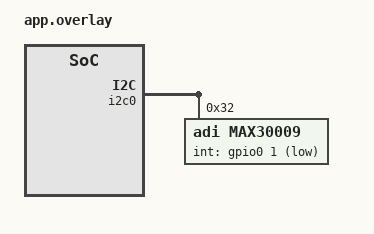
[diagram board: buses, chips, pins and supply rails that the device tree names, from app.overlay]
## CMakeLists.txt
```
# Copyright The Zephyr Project Contributors
# SPDX-License-Identifier: Apache-2.0

cmake_minimum_required(VERSION 3.28.0)
find_package(Zephyr REQUIRED HINTS $ENV{ZEPHYR_BASE})
project(max30009)

target_include_directories(app PRIVATE ${ZEPHYR_BASE}/drivers/sensor/adi/max30009)
target_sources(app PRIVATE src/main.c)
```

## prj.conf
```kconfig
# Copyright The Zephyr Project Contributors
# SPDX-License-Identifier: Apache-2.0

CONFIG_ZTEST=y
CONFIG_SENSOR=y
CONFIG_EMUL=y
CONFIG_GPIO=y
# The decoder is only built with streaming enabled
CONFIG_MAX30009_STREAM=y
```

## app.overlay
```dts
/*
 * Copyright The Zephyr Project Contributors
 *
 * SPDX-License-Identifier: Apache-2.0
 */

#include <zephyr/dt-bindings/gpio/gpio.h>

&i2c0 {
	max30009: max30009@32 {
		compatible = "adi,max30009";
		reg = <0x32>;
		int-gpios = <&gpio0 1 GPIO_ACTIVE_LOW>;
	};
};
```

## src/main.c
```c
/*
 * Copyright The Zephyr Project Contributors
 *
 * SPDX-License-Identifier: Apache-2.0
 */

#include <zephyr/drivers/sensor.h>
#include <zephyr/drivers/sensor/max30009.h>
#include <zephyr/sys/byteorder.h>
#include <zephyr/ztest.h>

#include "max30009.h"

#define TAG_BIOZ_I  0x1U
#define TAG_BIOZ_Q  0x2U
#define TAG_MARKER  0xEU
#define TAG_INVALID 0x0U

#define MAX_WORDS  100
#define LAST_TS_NS 1000000000ULL
#define PERIOD_NS  1000000U

static const struct sensor_decoder_api *decoder = SENSOR_DECODER_DT_GET(DT_NODELABEL(max30009));

static const struct sensor_chan_spec chan_i = {(enum sensor_channel)SENSOR_CHAN_BIOZ_I, 0};
static const struct sensor_chan_spec chan_q = {(enum sensor_channel)SENSOR_CHAN_BIOZ_Q, 0};

static struct {
	struct max30009_fifo_data hdr;
	uint8_t words[MAX_WORDS * MAX30009_FIFO_BYTES_PER_SAMPLE];
} fifo;

BUILD_ASSERT(offsetof(__typeof__(fifo), words) == sizeof(struct max30009_fifo_data));

struct fifo_word {
	uint8_t tag;
	int32_t value;
};

/* BioZ I and Q samples interleaved with a marker and an invalid word */
static const struct fifo_word mixed[] = {
	{TAG_BIOZ_I, 100},    {TAG_BIOZ_Q, -100}, {TAG_MARKER, 0}, {TAG_BIOZ_I, -524288},
	{TAG_BIOZ_Q, 524287}, {TAG_INVALID, 5},   {TAG_BIOZ_I, 0}, {TAG_BIOZ_Q, -1},
};

static const int32_t mixed_i[] = {100, -524288, 0};
static const int32_t mixed_q[] = {-100, 524287, -1};

static void put_word(size_t idx, uint8_t tag, int32_t value)
{
	uint32_t word = FIELD_PREP(GENMASK(23, 20), tag) | ((uint32_t)value & GENMASK(19, 0));

	sys_put_be24(word, &fifo.words[idx * MAX30009_FIFO_BYTES_PER_SAMPLE]);
}

static void fill_fifo(const struct fifo_word *words, size_t num, uint32_t period_ns)
{
	memset(&fifo, 0, sizeof(fifo));
	fifo.hdr.is_fifo = 1;
	fifo.hdr.timestamp = LAST_TS_NS;
	fifo.hdr.status1 = MAX30009_STATUS1_A_FULL_MSK;
	fifo.hdr.fifo_samples = num;
	fifo.hdr.fifo_byte_count = num * MAX30009_FIFO_BYTES_PER_SAMPLE;
	fifo.hdr.sample_set_size = MAX30009_FIFO_BYTES_PER_SAMPLE;
	fifo.hdr.sample_period_ns = period_ns;

	for (size_t i = 0; i < num; i++) {
		put_word(i, words[i].tag, words[i].value);
	}
}

static uint64_t reading_ts(const struct sensor_q31_data *out, int idx)
{
	const struct sensor_q31_sample_data *readings = out->readings;

	return out->header.base_timestamp_ns + readings[idx].timestamp_delta;
}

static void check_unsupported(const uint8_t *buffer, struct sensor_chan_spec chan)
{
	struct sensor_q31_data out;
	size_t base_size;
	size_t frame_size;
	uint16_t frame_count;
	uint32_t fit = 0;

	zassert_equal(decoder->get_size_info(chan, &base_size, &frame_size), -ENOTSUP);
	zassert_equal(decoder->get_frame_count(buffer, chan, &frame_count), -ENOTSUP);
	zassert_equal(decoder->decode(buffer, chan, &fit, 1, &out), -ENOTSUP);
}

ZTEST(max30009_decoder, test_size_info)
{
	size_t base_size;
	size_t frame_size;

	zassert_ok(decoder->get_size_info(chan_i, &base_size, &frame_size));
	zassert_equal(base_size, sizeof(struct sensor_q31_data));
	zassert_equal(frame_size, sizeof(struct sensor_q31_sample_data));

	zassert_ok(decoder->get_size_info(chan_q, &base_size, &frame_size));
	zassert_equal(base_size, sizeof(struct sensor_q31_data));
	zassert_equal(frame_size, sizeof(struct sensor_q31_sample_data));
}

static void check_all(struct sensor_chan_spec chan, const int32_t *expected, int num)
{
	const uint8_t *buffer = (const uint8_t *)&fifo;
	struct {
		struct sensor_q31_data data;
		struct sensor_q31_sample_data extra[ARRAY_SIZE(mixed_i) - 1];
	} out;
	const struct sensor_q31_sample_data *readings = out.data.readings;
	uint16_t frame_count;
	uint32_t fit = 0;

	zassert_ok(decoder->get_frame_count(buffer, chan, &frame_count));
	zassert_equal(frame_count, num);

	zassert_equal(decoder->decode(buffer, chan, &fit, num, &out), num);
	zassert_equal(out.data.header.reading_count, num);
	zassert_equal(out.data.header.base_timestamp_ns, LAST_TS_NS - (num - 1) * PERIOD_NS);
	zassert_equal(out.data.shift, 0);

	for (int i = 0; i < num; i++) {
		/* Raw ADC counts with a shift of 0 */
		zassert_equal(readings[i].value, expected[i], "reading %d: %d", i,
			      readings[i].value);
		zassert_equal(readings[i].timestamp_delta, i * PERIOD_NS);
	}

	zassert_equal(decoder->decode(buffer, chan, &fit, num, &out), 0);
}

static void check_one_by_one(struct sensor_chan_spec chan, const int32_t *expected, int num)
{
	const uint8_t *buffer = (const uint8_t *)&fifo;
	struct sensor_q31_data out;
	uint32_t fit = 0;

	for (int i = 0; i < num; i++) {
		zassert_equal(decoder->decode(buffer, chan, &fit, 1, &out), 1);
		zassert_equal(out.header.reading_count, 1);
		zassert_equal(out.shift, 0);
		zassert_equal(out.readings[0].value, expected[i]);
		zassert_equal(reading_ts(&out, 0), LAST_TS_NS - (num - 1 - i) * PERIOD_NS);
	}

	zassert_equal(decoder->decode(buffer, chan, &fit, 1, &out), 0);
}

ZTEST(max30009_decoder, test_fifo)
{
	const uint8_t *buffer = (const uint8_t *)&fifo;

	fill_fifo(mixed, ARRAY_SIZE(mixed), PERIOD_NS);

	check_all(chan_i, mixed_i, ARRAY_SIZE(mixed_i));
	check_all(chan_q, mixed_q, ARRAY_SIZE(mixed_q));
	check_one_by_one(chan_i, mixed_i, ARRAY_SIZE(mixed_i));
	check_one_by_one(chan_q, mixed_q, ARRAY_SIZE(mixed_q));

	zassert_true(decoder->has_trigger(buffer, SENSOR_TRIG_FIFO_WATERMARK));
	zassert_true(decoder->has_trigger(buffer, SENSOR_TRIG_FIFO_FULL));
	zassert_false(decoder->has_trigger(buffer, SENSOR_TRIG_DATA_READY));

	fifo.hdr.status1 = 0;
	zassert_false(decoder->has_trigger(buffer, SENSOR_TRIG_FIFO_WATERMARK));
	zassert_false(decoder->has_trigger(buffer, SENSOR_TRIG_FIFO_FULL));

	check_unsupported(buffer, (struct sensor_chan_spec){SENSOR_CHAN_ACCEL_XYZ, 0});
	check_unsupported(
		buffer, (struct sensor_chan_spec){(enum sensor_channel)SENSOR_CHAN_BIOZ_Q + 1, 0});
	check_unsupported(buffer, (struct sensor_chan_spec){chan_i.chan_type, 1});
}

ZTEST(max30009_decoder, test_fifo_no_period)
{
	const uint8_t *buffer = (const uint8_t *)&fifo;
	struct {
		struct sensor_q31_data data;
		struct sensor_q31_sample_data extra[ARRAY_SIZE(mixed_q) - 1];
	} out;
	const struct sensor_q31_sample_data *readings = out.data.readings;
	uint32_t fit = 0;

	/* Unknown BioZ ADC clock: every reading gets the FIFO timestamp */
	fill_fifo(mixed, ARRAY_SIZE(mixed), 0);

	zassert_equal(decoder->decode(buffer, chan_q, &fit, ARRAY_SIZE(mixed_q), &out),
		      ARRAY_SIZE(mixed_q));
	for (int i = 0; i < ARRAY_SIZE(mixed_q); i++) {
		zassert_equal(reading_ts(&out.data, i), LAST_TS_NS);
		zassert_equal(readings[i].value, mixed_q[i]);
	}
}

ZTEST(max30009_decoder, test_fifo_long_period)
{
	const uint8_t *buffer = (const uint8_t *)&fifo;
	/* Slowest rate: BioZ ADC OSR of 1024 at 16 kHz */
	const uint32_t period_ns = 64000000U;
	/* Late enough for the oldest reading to have a positive timestamp */
	const uint64_t last_ts_ns = 100000000000ULL;
	/* Readings 0 to 67 are at most UINT32_MAX ns after reading 0 */
	const int batches[] = {68, MAX_WORDS - 68};
	static struct fifo_word words[MAX_WORDS];
	static struct {
		struct sensor_q31_data data;
		struct sensor_q31_sample_data extra[MAX_WORDS - 1];
	} out;
	const struct sensor_q31_sample_data *readings = out.data.readings;
	uint16_t frame_count;
	uint32_t fit = 0;
	int decoded = 0;

	for (int i = 0; i < MAX_WORDS; i++) {
		words[i] = (struct fifo_word){TAG_BIOZ_I, i - 50};
	}
	fill_fifo(words, MAX_WORDS, period_ns);
	fifo.hdr.timestamp = last_ts_ns;

	zassert_ok(decoder->get_frame_count(buffer, chan_i, &frame_count));
	zassert_equal(frame_count, MAX_WORDS);

	/* The readings span more than UINT32_MAX ns, so two calls are needed */
	for (int b = 0; b < ARRAY_SIZE(batches); b++) {
		zassert_equal(decoder->decode(buffer, chan_i, &fit, MAX_WORDS, &out), batches[b],
			      "batch %d", b);
		zassert_equal(out.data.header.reading_count, batches[b]);
		for (int i = 0; i < batches[b]; i++) {
			int idx = decoded + i;

			zassert_equal(readings[i].value, idx - 50);
			zassert_equal(reading_ts(&out.data, i),
				      last_ts_ns - (uint64_t)(MAX_WORDS - 1 - idx) * period_ns,
				      "reading %d", idx);
		}
		decoded += batches[b];
	}

	zassert_equal(decoder->decode(buffer, chan_i, &fit, MAX_WORDS, &out), 0);
}

ZTEST(max30009_decoder, test_fifo_partial_word)
{
	const uint8_t *buffer = (const uint8_t *)&fifo;
	struct sensor_q31_data out;
	uint16_t frame_count;
	uint32_t fit = 0;

	fill_fifo(mixed, 4, PERIOD_NS);
	/* Two bytes of a BioZ I word end the data and are ignored */
	put_word(4, TAG_BIOZ_I, 7);
	fifo.hdr.fifo_byte_count = 4 * MAX30009_FIFO_BYTES_PER_SAMPLE + 2;

	zassert_ok(decoder->get_frame_count(buffer, chan_i, &frame_count));
	zassert_equal(frame_count, 2);

	for (int i = 0; i < 2; i++) {
		zassert_equal(decoder->decode(buffer, chan_i, &fit, 1, &out), 1);
		zassert_equal(out.readings[0].value, mixed_i[i]);
		zassert_equal(reading_ts(&out, 0), LAST_TS_NS - (1 - i) * PERIOD_NS);
	}
	zassert_equal(decoder->decode(buffer, chan_i, &fit, 1, &out), 0);
}

ZTEST(max30009_decoder, test_fifo_other_channel)
{
	const uint8_t *buffer = (const uint8_t *)&fifo;
	static const struct fifo_word words[] = {
		{TAG_MARKER, 0}, {TAG_BIOZ_I, 1}, {TAG_INVALID, 2}, {TAG_BIOZ_I, 3}};
	struct sensor_q31_data out;
	uint16_t frame_count;
	uint32_t fit = 0;

	/* FIFO data without any BioZ Q sample */
	fill_fifo(words, ARRAY_SIZE(words), PERIOD_NS);

	zassert_ok(decoder->get_frame_count(buffer, chan_q, &frame_count));
	zassert_equal(frame_count, 0);
	zassert_equal(decoder->decode(buffer, chan_q, &fit, 1, &out), -ENODATA);
	zassert_equal(decoder->decode(buffer, chan_q, &fit, 0, &out), -ENODATA);

	zassert_ok(decoder->get_frame_count(buffer, chan_i, &frame_count));
	zassert_equal(frame_count, 2);
	zassert_equal(decoder->decode(buffer, chan_i, &fit, 1, &out), 1);
	zassert_equal(out.readings[0].value, 1);
	zassert_equal(reading_ts(&out, 0), LAST_TS_NS - PERIOD_NS);
}

ZTEST(max30009_decoder, test_fifo_empty)
{
	const uint8_t *buffer = (const uint8_t *)&fifo;
	struct sensor_q31_data out;
	uint16_t frame_count;
	uint32_t fit = 0;

	/* Buffer completed without data, for SENSOR_STREAM_DATA_NOP or _DROP */
	memset(&fifo, 0, sizeof(fifo));
	fifo.hdr.is_fifo = 1;
	fifo.hdr.timestamp = LAST_TS_NS;
	fifo.hdr.status1 = MAX30009_STATUS1_A_FULL_MSK;

	zassert_ok(decoder->get_frame_count(buffer, chan_i, &frame_count));
	zassert_equal(frame_count, 0);
	zassert_ok(decoder->get_frame_count(buffer, chan_q, &frame_count));
	zassert_equal(frame_count, 0);
	zassert_equal(decoder->decode(buffer, chan_i, &fit, 1, &out), 0);
	zassert_equal(decoder->decode(buffer, chan_q, &fit, 1, &out), 0);
	zassert_true(decoder->has_trigger(buffer, SENSOR_TRIG_FIFO_WATERMARK));

	check_unsupported(buffer, (struct sensor_chan_spec){SENSOR_CHAN_ACCEL_XYZ, 0});
}

ZTEST_SUITE(max30009_decoder, NULL, NULL, NULL, NULL, NULL);
```
